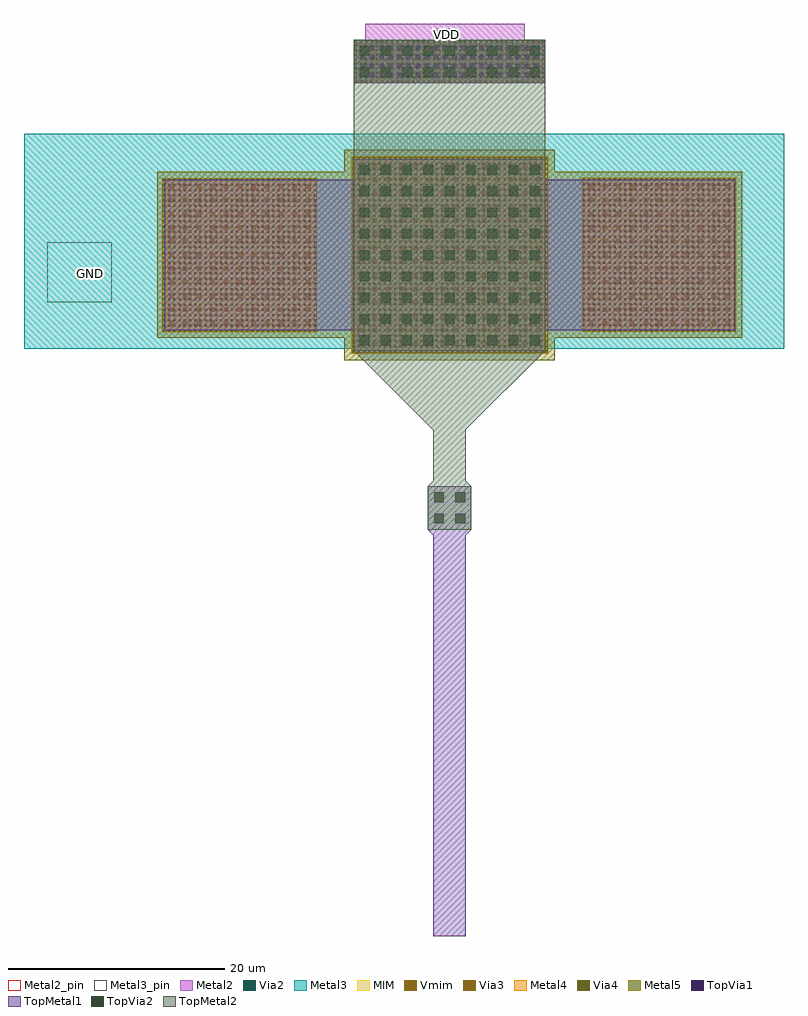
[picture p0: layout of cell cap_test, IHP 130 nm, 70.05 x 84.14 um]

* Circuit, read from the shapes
.subckt cap_test GND VDD
XC1 VDD GND cap_cmim w=14.08u l=14.08u m=2
XC2 VDD GND cap_cmim w=18.2u l=18.2u
.ends

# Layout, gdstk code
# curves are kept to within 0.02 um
import gdstk
lib = gdstk.Library(unit=1e-6, precision=1e-09)
def R(c, l, rs):  # rectangles x0, y0, x1, y1
    for r in rs: c.add(gdstk.rectangle(r[:2], r[2:], *l))
def A(c, l, x, y, w, h, nx, ny, dx, dy):  # array of equal rectangles
    R(c, l, [(x+i*dx, y+j*dy, x+i*dx+w, y+j*dy+h) for i in range(nx) for j in range(ny)])
def P(c, l, *ps):  # polygons
    for p in ps: c.add(gdstk.Polygon(p, *l))
Metal2 = (10, 0)
Metal2_pin = (10, 2)
Via2 = (29, 0)
Metal3 = (30, 0)
Metal3_pin = (30, 2)
MIM = (36, 0)
Via3 = (49, 0)
Metal4 = (50, 0)
Via4 = (66, 0)
Metal5 = (67, 0)
TopVia1 = (125, 0)
TopMetal1 = (126, 0)
Vmim = (129, 0)
TopVia2 = (133, 0)
TopMetal2 = (134, 0)

via_stack_2_2 = lib.new_cell('via_stack$2$2')
R(via_stack_2_2, Metal3, [(-9.025,-9.025,9.025,9.025)])
A(via_stack_2_2, Via3, -8.975, -8.975, 0.19, 0.19, 38, 38, 0.48, 0.48)
R(via_stack_2_2, Metal4, [(-9.025,-9.025,9.025,9.025)])
A(via_stack_2_2, Via4, -8.975, -8.975, 0.19, 0.19, 38, 38, 0.48, 0.48)
R(via_stack_2_2, Metal5, [(-9.025,-9.025,9.025,9.025)])

via_stack_1_2 = lib.new_cell('via_stack$1$2')
R(via_stack_1_2, Metal3, [(-7.105,-7.105,7.105,7.105)])
A(via_stack_1_2, Via3, -7.055, -7.055, 0.19, 0.19, 30, 30, 0.48, 0.48)
R(via_stack_1_2, Metal4, [(-7.105,-7.105,7.105,7.105)])
A(via_stack_1_2, Via4, -7.055, -7.055, 0.19, 0.19, 30, 30, 0.48, 0.48)
R(via_stack_1_2, Metal5, [(-7.105,-7.105,7.105,7.105)])

cmim_4 = lib.new_cell('cmim$4')
R(cmim_4, MIM, [(0,0,14.08,14.08)])
R(cmim_4, Metal5, [(-0.6,-0.6,14.68,14.68)])
R(cmim_4, TopMetal1, [(0.105,0.105,13.965,13.965)])
A(cmim_4, Vmim, 0.525, 0.525, 0.42, 0.42, 11, 11, 1.26, 1.26)

cmim_5 = lib.new_cell('cmim$5')
R(cmim_5, MIM, [(0,0,18.2,18.2)])
R(cmim_5, Metal5, [(-0.6,-0.6,18.8,18.8)])
R(cmim_5, TopMetal1, [(0.275,0.275,17.915,17.915)])
A(cmim_5, Vmim, 0.695, 0.695, 0.42, 0.42, 14, 14, 1.26, 1.26)

cap_test = lib.new_cell('cap_test')
R(cap_test, Metal2, [(199.405,465.07,217.045,469.07), (200.44,465.07,204.04,470.57), (211.525,465.07,215.125,470.57), (204.04,469.07,211.525,470.57)])
R(cap_test, Metal2_pin, [(207.055,469.215,208.545,470.105)])
A(cap_test, Via2, 199.49, 465.13, 0.19, 0.19, 37, 10, 0.48, 0.41)
R(cap_test, Metal3, [(199.405,458.27,217.045,460.43), (199.405,465.07,217.045,469.07), (199.405,465.07,217.045,469.07)])
P(cap_test, Metal3, [(217.045,440.43),(217.05,440.605),(168.99,440.605),(168.99,460.43),(199.405,460.43),(199.405,458.07),(217.045,458.07),(217.045,460.43),(239.04,460.43),(239.04,440.605),(217.05,440.605)])
R(cap_test, Metal3_pin, [(171.125,444.89,177.1,450.43)])
A(cap_test, Via3, 199.49, 465.13, 0.19, 0.19, 37, 10, 0.48, 0.41)
R(cap_test, Metal4, [(199.405,465.07,217.045,469.07), (199.405,465.07,217.045,469.07)])
A(cap_test, Via4, 199.49, 465.13, 0.19, 0.19, 37, 10, 0.48, 0.41)
R(cap_test, Metal5, [(196.53,441.615,219.93,456.895), (199.405,465.07,217.045,469.07), (199.405,465.07,217.045,469.07)])
A(cap_test, TopVia1, 200.035, 465.6, 0.42, 0.42, 20, 4, 0.84, 0.84)
R(cap_test, TopMetal1, [(206.725,386.43,209.725,425.93), (206.225,423.93,210.225,427.93), (199.4,440.405,217.04,458.045), (195.815,442.32,199.4,456.18), (217.045,442.32,220.635,456.18), (199.405,465.07,217.045,469.07), (199.405,465.07,217.045,469.07)])
P(cap_test, TopMetal1, [(206.725,423.43),(206.225,423.93),(210.225,423.93),(209.725,423.43)])
A(cap_test, TopVia2, 199.93, 440.935, 0.9, 0.9, 9, 9, 1.96, 1.96)
A(cap_test, TopVia2, 199.935, 465.64, 0.9, 0.9, 9, 2, 1.96, 1.96)
R(cap_test, TopVia2, [(206.795,424.5,207.695,425.4), (208.755,424.5,209.655,425.4), (206.795,426.46,207.695,427.36), (208.755,426.46,209.655,427.36)])
R(cap_test, TopMetal2, [(206.225,423.93,210.225,427.93), (206.725,427.93,209.725,430.43), (206.725,430.43,209.725,440.43), (199.4,440.43,217.04,458.045), (199.405,458.045,217.045,465.07), (199.405,465.07,217.045,469.07)])
P(cap_test, TopMetal2, [(209.725,433.115),(209.725,440.43),(217.04,440.43)],
  [(206.725,433.105),(199.4,440.43),(206.725,440.43)],
  [(206.225,427.93),(206.725,428.43),(209.725,428.43),(210.225,427.93)])
cap_test.add(gdstk.Reference(via_stack_2_2, (208.25,449.245)))
cap_test.add(gdstk.Reference(via_stack_1_2, (227.53,449.255)))
cap_test.add(gdstk.Reference(cmim_4, (181.85,442.215)))
cap_test.add(gdstk.Reference(via_stack_1_2, (188.85,449.22)))
cap_test.add(gdstk.Reference(cmim_5, (199.13,440.155)))
cap_test.add(gdstk.Reference(cmim_4, (220.53,442.215)))
cap_test.add(gdstk.Label('GND', (175.125,447.56), layer=30, texttype=25))
cap_test.add(gdstk.Label('VDD', (207.905,469.58), layer=10, texttype=25))

lib.write_gds('cap_test.gds')
